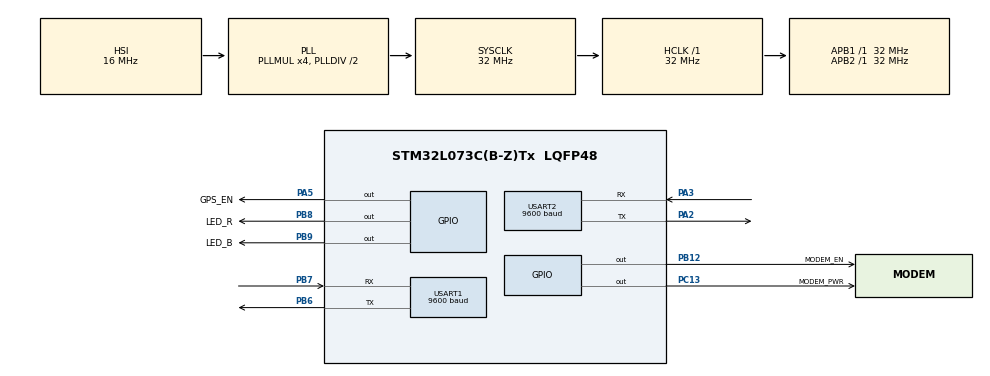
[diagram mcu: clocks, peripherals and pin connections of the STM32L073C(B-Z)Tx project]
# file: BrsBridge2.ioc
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Mcu.Family=STM32L0
Mcu.Name=STM32L073C(B-Z)Tx
Mcu.Package=LQFP48
NVIC.USART1_IRQn=true\:0\:0\:false\:false\:true\:true\:true
NVIC.USART2_IRQn=true\:0\:0\:false\:false\:true\:true\:true
PA13.Mode=Serial_Wire
PA13.Signal=SYS_SWDIO
PA14.Mode=Serial_Wire
PA14.Signal=SYS_SWCLK
PA2.Mode=Asynchronous
PA2.Signal=USART2_TX
PA3.GPIO_PuPd=GPIO_PULLUP
PA3.Mode=Asynchronous
PA3.Signal=USART2_RX
PA5.GPIO_Label=GPS_EN
PA5.PinState=GPIO_PIN_RESET
PA5.Signal=GPIO_Output
PB12.GPIO_Label=MODEM_EN
PB12.GPIO_ModeDefaultOutputPP=GPIO_MODE_OUTPUT_OD
PB12.GPIO_PuPd=GPIO_NOPULL
PB12.PinState=GPIO_PIN_SET
PB12.Signal=GPIO_Output
PB6.Mode=Asynchronous
PB6.Signal=USART1_TX
PB7.Mode=Asynchronous
PB7.Signal=USART1_RX
PB8.GPIO_Label=LED_R
PB8.PinState=GPIO_PIN_SET
PB8.Signal=GPIO_Output
PB9.GPIO_Label=LED_B
PB9.PinState=GPIO_PIN_SET
PB9.Signal=GPIO_Output
PC13.GPIO_Label=MODEM_PWR
PC13.Signal=GPIO_Output
ProjectManager.HeapSize=0x200
ProjectManager.StackSize=0x400
ProjectManager.TargetToolchain=EWARM V8
RCC.AHBFreq_Value=32000000
RCC.APB1Freq_Value=32000000
RCC.APB1TimFreq_Value=32000000
RCC.APB2Freq_Value=32000000
RCC.APB2TimFreq_Value=32000000
RCC.HCLKFreq_Value=32000000
RCC.HSE_VALUE=8000000
RCC.HSI16_VALUE=16000000
RCC.HSI48_VALUE=48000000
RCC.HSI_VALUE=16000000
RCC.LSE_VALUE=32768
RCC.MSI_VALUE=2097000
RCC.PLLMUL=RCC_PLLMUL_4
RCC.SYSCLKFreq_VALUE=32000000
RCC.SYSCLKSource=RCC_SYSCLKSOURCE_PLLCLK
RCC.VCOOutputFreq_Value=64000000
USART1.BaudRate=9600
USART1.VirtualMode-Asynchronous=VM_ASYNC
USART2.BaudRate=9600
USART2.VirtualMode-Asynchronous=VM_ASYNC
board=custom

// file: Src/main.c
/* USER CODE BEGIN Header */
/**
  ******************************************************************************
  * @file           : main.c
  * @brief          : Main program body
  ******************************************************************************
  * @attention
  *
  * Copyright (c) 2021 STMicroelectronics.
  * All rights reserved.
  *
  * This software is licensed under terms that can be found in the LICENSE file
  * in the root directory of this software component.
  * If no LICENSE file comes with this software, it is provided AS-IS.
  *
  ******************************************************************************
  */
/* USER CODE END Header */
#include "main.h"
#include "usart.h"
#include "gpio.h"

/* USER CODE BEGIN PD */
#define BUFLEN 100
/* USER CODE END PD */

/* USER CODE BEGIN PV */
  uint8_t U1InBuf[BUFLEN];
  int U1Bot = 0, U1Top = 0;
  uint8_t U2InBuf[BUFLEN];
  int U2Bot = 0, U2Top = 0;
/* USER CODE END PV */

void SystemClock_Config(void);

/* USER CODE BEGIN 0 */
void HAL_UART_TxCpltCallback(UART_HandleTypeDef *huart)
{
}
/* USER CODE END 0 */

int main(void)
{

  /* MCU Configuration--------------------------------------------------------*/

  /* Reset of all peripherals, Initializes the Flash interface and the Systick. */
  HAL_Init();

  /* Configure the system clock */
  SystemClock_Config();

  /* Initialize all configured peripherals */
  MX_GPIO_Init();
  MX_USART1_UART_Init();
  MX_USART2_UART_Init();
  /* USER CODE BEGIN 2 */
  HAL_GPIO_WritePin(GPIOB, MODEM_EN_Pin, GPIO_PIN_RESET); // Подтягиваем к земле пин
  HAL_Delay(1500); // Ждем от 1 до 12с, как того требует даташит на модем
  HAL_GPIO_WritePin(GPIOB, MODEM_EN_Pin, GPIO_PIN_SET); // Отпускаем пин

  /* USER CODE END 2 */

  /* Infinite loop */
  /* USER CODE BEGIN WHILE */
    /*
      Typedef enum
      {
      HAL_OK = 0x00, HAL_ERROR = 0x01, HAL_BUSY = 0x02, HAL_TIMEOUT = 0x03
      } HAL_StatusTypeDef;
    */
  uint8_t c;
  HAL_StatusTypeDef e;
  HAL_UART_StateTypeDef u;
  int s=0;
  while (1)
  {
    e = HAL_UART_Receive(&huart1, U1InBuf + U1Top, 1, 0);
    if(e == HAL_OK) // Приняли байт
    {
      if(++U1Top >= BUFLEN) // Увеличивваем вершину кольцевого буфера на 1
        U1Top = 0; // Если вышли за границу буфера, значит сбрасываем указатель
      U1InBuf[U1Top] = c; // Записываем на вершину буфера принятый байт
      //HAL_GPIO_TogglePin(GPIOB, LED_R_Pin);
    }
    s += e;

    // То же для второго УАРТа
    e = HAL_UART_Receive(&huart2, U2InBuf + U2Top, 1, 0);
    if(e == HAL_OK)
    {
      if(++U2Top >= BUFLEN)
        U2Top = 0;
      U2InBuf[U2Top] = c;
    }
    s += e;

    // Отправляем из первого буфера во второй УАРТ и наоборот
    if(U1Top != U1Bot) // Если вершина не равна основанию, значит в буфере есть данные
    {
      u = HAL_UART_GetState(&huart2); // УАРТ не занят и готов отправлять новую порцию данных
      if(u != HAL_UART_STATE_BUSY_TX)
      {
        HAL_UART_Transmit_IT(&huart2, U1InBuf + U1Bot, 1); // Отправляем байт из основания буфера
        HAL_GPIO_TogglePin(GPIOB, LED_B_Pin); // Блымаем блымочкой
        if(++U1Bot >= BUFLEN) // Увеличивваем основание кольцевого буфера на 1
          U1Bot = 0; // Если вышли за границу буфера, значит сбрасываем указатель
      }
      s += u;
    }

    // То же для первого УАРТа
    if(U2Top != U2Bot)// Если вершина не равна основанию, значит в буфере есть данные
    {
      u = HAL_UART_GetState(&huart1);
      if(u != HAL_UART_STATE_BUSY_TX) // УАРТ не занят и готов отправлять новую порцию данных
      {
        HAL_UART_Transmit_IT(&huart1, U2InBuf + U2Bot, 1); // Отправляем байт из основания буфера
        HAL_GPIO_TogglePin(GPIOB, LED_R_Pin); // Блымаем блымочкой
        if(++U2Bot >= BUFLEN) // Увеличивваем основание кольцевого буфера на 1
          U2Bot = 0; // Если вышли за границу буфера, значит сбрасываем указатель
      }
      s += u;
    }

    if(s > 1000000)
    {
      HAL_UART_Transmit_IT(&huart1, U2InBuf + s, 1);
      s = 0;
    }
    /* USER CODE END WHILE */

  }
}

void SystemClock_Config(void)
{
  RCC_OscInitTypeDef RCC_OscInitStruct = {0};
  RCC_ClkInitTypeDef RCC_ClkInitStruct = {0};
  RCC_PeriphCLKInitTypeDef PeriphClkInit = {0};

  /** Configure the main internal regulator output voltage
  */
  __HAL_PWR_VOLTAGESCALING_CONFIG(PWR_REGULATOR_VOLTAGE_SCALE1);
  /** Initializes the RCC Oscillators according to the specified parameters
  * in the RCC_OscInitTypeDef structure.
  */
  RCC_OscInitStruct.OscillatorType = RCC_OSCILLATORTYPE_HSI;
  RCC_OscInitStruct.HSIState = RCC_HSI_ON;
  RCC_OscInitStruct.HSICalibrationValue = RCC_HSICALIBRATION_DEFAULT;
  RCC_OscInitStruct.PLL.PLLState = RCC_PLL_ON;
  RCC_OscInitStruct.PLL.PLLSource = RCC_PLLSOURCE_HSI;
  RCC_OscInitStruct.PLL.PLLMUL = RCC_PLLMUL_4;
  RCC_OscInitStruct.PLL.PLLDIV = RCC_PLLDIV_2;
  if (HAL_RCC_OscConfig(&RCC_OscInitStruct) != HAL_OK)
  {
    Error_Handler();
  }
  /** Initializes the CPU, AHB and APB buses clocks
  */
  RCC_ClkInitStruct.ClockType = RCC_CLOCKTYPE_HCLK|RCC_CLOCKTYPE_SYSCLK
                              |RCC_CLOCKTYPE_PCLK1|RCC_CLOCKTYPE_PCLK2;
  RCC_ClkInitStruct.SYSCLKSource = RCC_SYSCLKSOURCE_PLLCLK;
  RCC_ClkInitStruct.AHBCLKDivider = RCC_SYSCLK_DIV1;
  RCC_ClkInitStruct.APB1CLKDivider = RCC_HCLK_DIV1;
  RCC_ClkInitStruct.APB2CLKDivider = RCC_HCLK_DIV1;

  if (HAL_RCC_ClockConfig(&RCC_ClkInitStruct, FLASH_LATENCY_1) != HAL_OK)
  {
    Error_Handler();
  }
  PeriphClkInit.PeriphClockSelection = RCC_PERIPHCLK_USART1|RCC_PERIPHCLK_USART2;
  PeriphClkInit.Usart1ClockSelection = RCC_USART1CLKSOURCE_PCLK2;
  PeriphClkInit.Usart2ClockSelection = RCC_USART2CLKSOURCE_PCLK1;
  if (HAL_RCCEx_PeriphCLKConfig(&PeriphClkInit) != HAL_OK)
  {
    Error_Handler();
  }
}

void Error_Handler(void)
{
  __disable_irq();
  while (1)
  {
  }
}
